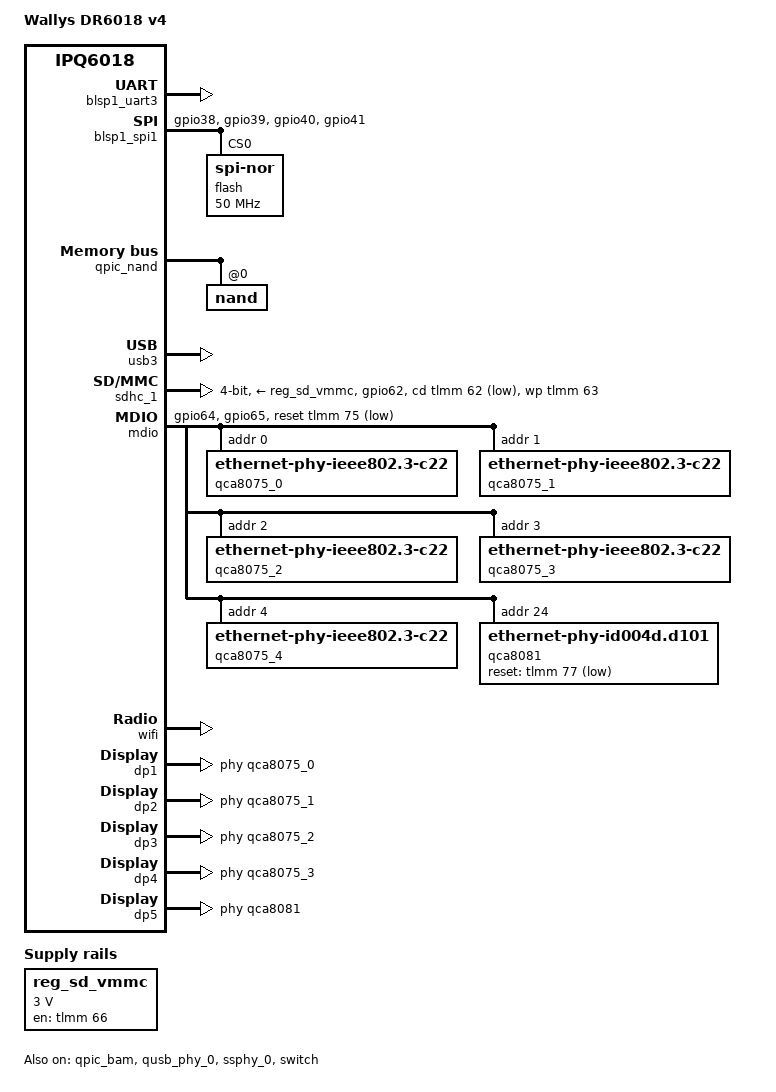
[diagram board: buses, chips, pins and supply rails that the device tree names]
// SPDX-License-Identifier: GPL-2.0-or-later OR BSD-3-Clause

/dts-v1/;

#include "ipq6018.dtsi"
#include "ipq6018-ess.dtsi"
#include <dt-bindings/gpio/gpio.h>
#include <dt-bindings/input/input.h>

/ {
	model = "Wallys DR6018 v4";
	compatible = "wallys,dr6018", "wallys,dr6018-v4", "qcom,ipq6018";

	aliases {
		serial0 = &blsp1_uart3;
		/*
		 * Aliases as required by u-boot
		 * to patch MAC addresses
		 */
		ethernet0 = &dp1;
		ethernet1 = &dp2;
		ethernet2 = &dp3;
		ethernet3 = &dp4;
		ethernet4 = &dp5;
	};

	chosen {
		stdout-path = "serial0:115200n8";

		bootargs-append = " root=/dev/ubiblock0_1";

	};

	reg_sd_vmmc: regulator-sdcard-vmmc {
		compatible = "regulator-fixed";
		regulator-name = "sdcard-vmmc";
		regulator-min-microvolt = <3000000>;
		regulator-max-microvolt = <3000000>;

		startup-delay-us = <200>;

		gpio = <&tlmm 66 GPIO_ACTIVE_HIGH>;
		enable-active-high;

		pinctrl-names = "default";
		pinctrl-0 = <&sd_vmmc_en_default>;
	};
};

&tlmm {
	/* TZ has exclusive control over GPIO20 */
	gpio-reserved-ranges = <20 1>;

	spi_0_pins: spi-0-state {
		pins = "gpio38", "gpio39", "gpio40", "gpio41";
		function = "blsp0_spi";
		drive-strength = <8>;
		bias-pull-down;
	};

	mdio_pins: mdio-state {
		mdc {
			pins = "gpio64";
			function = "mdc";
			drive-strength = <8>;
			bias-pull-up;
		};

		mdio {
			pins = "gpio65";
			function = "mdio";
			drive-strength = <8>;
			bias-pull-up;
		};
	};

	sd_vmmc_en_default: sd-vmmc-en-default-state {
		pins = "gpio66";
		function = "gpio";
		drive-strength = <8>;
		bias-pull-down;
	};

	sd_pins: sd-state {
		pins = "gpio62";
		function = "gpio";
		drive-strength = <8>;
		bias-pull-up;
	};
};

/*
 * Board does not use companion MP5496 PMIC,
 * but rather uses fixed external SMPS.
 */
&rpm {
	status = "disabled";
};

&CPU0 {
	/delete-property/ cpu-supply;
};

&CPU1 {
	/delete-property/ cpu-supply;
};

&CPU2 {
	/delete-property/ cpu-supply;
};

&CPU3 {
	/delete-property/ cpu-supply;
};

&cpu_opp_table {
	opp-864000000 {
		opp-microvolt = <1100000>;
	};

	opp-1056000000 {
		opp-microvolt = <1100000>;
	};

	opp-1320000000 {
		opp-microvolt = <1100000>;
	};

	opp-1440000000 {
		opp-microvolt = <1100000>;
	};

	opp-1608000000 {
		opp-microvolt = <1100000>;
	};

	opp-1800000000 {
		opp-microvolt = <1100000>;
	};
};

&blsp1_uart3 {
	status = "okay";

	pinctrl-0 = <&serial_3_pins>;
	pinctrl-names = "default";
};

&blsp1_spi1 {
	pinctrl-0 = <&spi_0_pins>;
	pinctrl-names = "default";
	status = "okay";

	flash@0 {
		#address-cells = <1>;
		#size-cells = <1>;
		reg = <0>;
		compatible = "jedec,spi-nor";
		spi-max-frequency = <50000000>;
	};
};

&qpic_bam {
	status = "okay";
};

&qpic_nand {
	status = "okay";

	nand@0 {
		reg = <0>;

		nand-ecc-strength = <8>;
		nand-ecc-step-size = <512>;
		nand-bus-width = <8>;
	};
};

&qusb_phy_0 {
	status = "okay";
};

&ssphy_0 {
	status = "okay";
};

&usb3 {
	status = "okay";
};

&qusb_phy_1 {
	status = "disabled";
};

&usb2 {
	status = "disabled";
};

&sdhc_1 {
	status = "okay";
	pinctrl-0 = <&sd_pins>;
	pinctrl-names = "default";

	cd-gpios = <&tlmm 62 GPIO_ACTIVE_LOW>;
	wp-gpios = <&tlmm 63 GPIO_ACTIVE_HIGH>;
	vmmc-supply = <&reg_sd_vmmc>;
	bus-width = <4>;
};

&mdio {
	status = "okay";
	pinctrl-0 = <&mdio_pins>;
	pinctrl-names = "default";
	reset-gpios = <&tlmm 75 GPIO_ACTIVE_LOW>;

	qca8075_0: ethernet-phy@0 {
		compatible = "ethernet-phy-ieee802.3-c22";
		reg = <0>;
	};

	qca8075_1: ethernet-phy@1 {
		compatible = "ethernet-phy-ieee802.3-c22";
		reg = <1>;
	};

	qca8075_2: ethernet-phy@2 {
		compatible = "ethernet-phy-ieee802.3-c22";
		reg = <2>;
	};

	qca8075_3: ethernet-phy@3 {
		compatible = "ethernet-phy-ieee802.3-c22";
		reg = <3>;
	};

	qca8075_4: ethernet-phy@4 {
		compatible = "ethernet-phy-ieee802.3-c22";
		reg = <4>;
	};

	qca8081: ethernet-phy@24 {
		compatible = "ethernet-phy-id004d.d101";
		reg = <24>;
		reset-gpios = <&tlmm 77 GPIO_ACTIVE_LOW>;
	};
};

&edma {
	status = "okay";
};

&wifi {
        status = "okay";
	qcom,ath11k-calibration-variant = "Wallys-DR6018";
};

&switch {
	status = "okay";

	switch_cpu_bmp = <0x1>;  /* cpu port bitmap */
	switch_lan_bmp = <0x1e>; /* lan port bitmap */
	switch_wan_bmp = <0x20>; /* wan port bitmap */
	switch_inner_bmp = <0xc0>; /*inner port bitmap*/
	switch_mac_mode = <0x0>; /* mac mode for uniphy instance0*/
	switch_mac_mode1 = <0xf>; /* mac mode for uniphy instance1*/
	switch_mac_mode2 = <0xff>; /* mac mode for uniphy instance2*/

	qcom,port_phyinfo {
		port@0 {
			port_id = <1>;
			phy_address = <0>;
		};
		port@1 {
			port_id = <2>;
			phy_address = <1>;
		};
		port@2 {
			port_id = <3>;
			phy_address = <2>;
		};
		port@3 {
			port_id = <4>;
			phy_address = <3>;
		};
		port@4 {
			port_id = <5>;
			phy_address = <24>;
			port_mac_sel = "QGMAC_PORT";
		};
	};
};

&dp1 {
	status = "okay";

	phy-handle = <&qca8075_0>;
};

&dp2 {
	status = "okay";

	phy-handle = <&qca8075_1>;
};

&dp3 {
	status = "okay";

	phy-handle = <&qca8075_2>;
};

&dp4 {
	status = "okay";

	phy-handle = <&qca8075_3>;
};

&dp5 {
	status = "okay";

	phy-handle = <&qca8081>;
};
